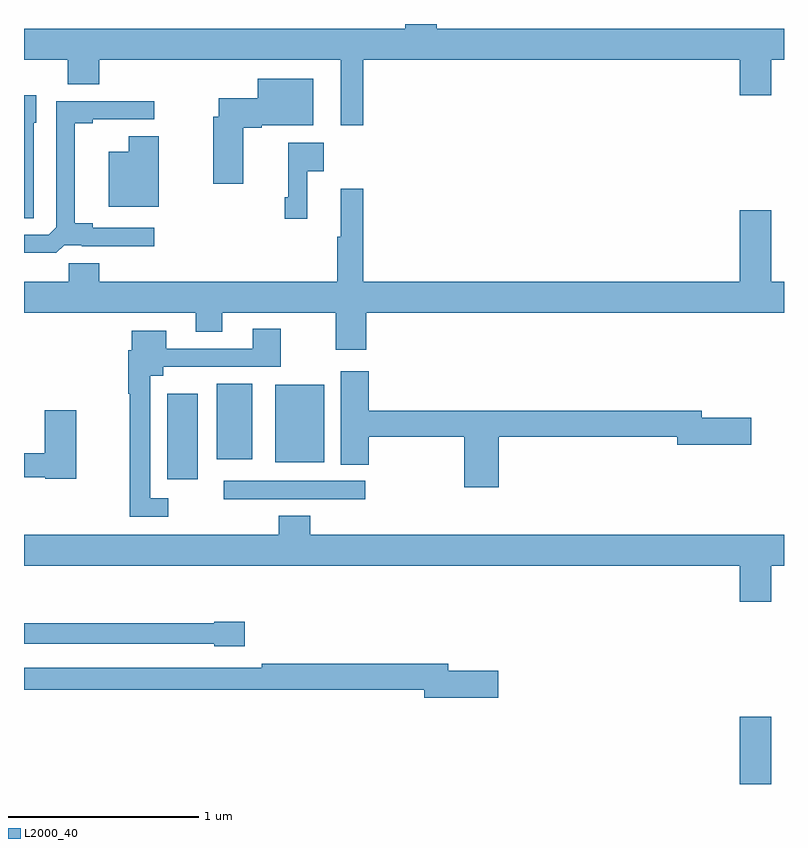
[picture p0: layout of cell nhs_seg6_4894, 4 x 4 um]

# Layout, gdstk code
import gdstk
lib = gdstk.Library(unit=1e-6, precision=1e-09)
def R(c, l, rs):  # rectangles x0, y0, x1, y1
    for r in rs: c.add(gdstk.rectangle(r[:2], r[2:], *l))
def P(c, l, *ps):  # polygons
    for p in ps: c.add(gdstk.Polygon(p, *l))
L2000_40 = (2000, 40)

nhs_seg6_4894 = lib.new_cell('nhs_seg6_4894')
R(nhs_seg6_4894, L2000_40, [(404.768,967.5,404.932,967.855), (402.051,969,402.796,969.096), (401.753,969.105,401.914,969.553), (402.323,969.194,402.58,969.601), (402.014,969.209,402.202,969.607)])
P(nhs_seg6_4894, L2000_40, [(402.785,971.312),(404.768,971.312),(404.768,971.124),(404.932,971.124),(404.932,971.312),(405,971.312),(405,971.476),(403.172,971.476),(403.172,971.5),(403.007,971.5),(403.007,971.476),(401,971.476),(401,971.312),(401.231,971.312),(401.231,971.184),(401.395,971.184),(401.395,971.312),(402.668,971.312),(402.668,970.968),(402.785,970.968)],
  [(402.154,970.955),(402.25,970.955),(402.25,970.967),(402.523,970.967),(402.523,971.212),(402.23,971.212),(402.23,971.11),(402.026,971.11),(402.026,971.011),(401.996,971.011),(401.996,970.659),(402.154,970.659)],
  [(401.052,970.98),(401.065,970.98),(401.065,971.125),(401,971.125),(401,970.477),(401.052,970.477)],
  [(401.211,970.335),(401.305,970.335),(401.305,970.331),(401.686,970.331),(401.686,970.428),(401.362,970.428),(401.362,970.451),(401.267,970.451),(401.267,970.978),(401.362,970.978),(401.362,970.998),(401.686,970.998),(401.686,971.094),(401.169,971.094),(401.169,970.431),(401.13,970.392),(401,970.392),(401,970.296),(401.171,970.296)],
  [(401.71,970.909),(401.552,970.909),(401.552,970.828),(401.447,970.828),(401.447,970.538),(401.71,970.538)],
  [(402.491,970.724),(402.577,970.724),(402.577,970.876),(402.391,970.876),(402.391,970.588),(402.373,970.588),(402.373,970.476),(402.491,970.476)],
  [(402.8,969.98),(405,969.98),(405,970.144),(404.932,970.144),(404.932,970.519),(404.768,970.519),(404.768,970.144),(402.785,970.144),(402.785,970.633),(402.668,970.633),(402.668,970.38),(402.649,970.38),(402.649,970.144),(401.396,970.144),(401.396,970.242),(401.236,970.242),(401.236,970.144),(401,970.144),(401,969.98),(401.903,969.98),(401.903,969.881),(402.043,969.881),(402.043,969.98),(402.64,969.98),(402.64,969.786),(402.8,969.786)],
  [(401.758,969.003),(401.664,969.003),(401.664,969.65),(401.734,969.65),(401.734,969.696),(402.351,969.696),(402.351,969.895),(402.203,969.895),(402.203,969.792),(401.749,969.792),(401.749,969.886),(401.567,969.886),(401.567,969.782),(401.548,969.782),(401.548,969.554),(401.556,969.554),(401.556,968.907),(401.758,968.907)],
  [(403.499,969.328),(404.438,969.328),(404.438,969.286),(404.827,969.286),(404.827,969.428),(404.566,969.428),(404.566,969.464),(402.815,969.464),(402.815,969.673),(402.668,969.673),(402.668,969.181),(402.815,969.181),(402.815,969.328),(403.316,969.328),(403.316,969.063),(403.499,969.063)],
  [(401.274,969.466),(401.108,969.466),(401.108,969.242),(401,969.242),(401,969.114),(401.112,969.114),(401.112,969.106),(401.274,969.106)],
  [(404.932,968.648),(405,968.648),(405,968.812),(402.506,968.812),(402.506,968.911),(402.341,968.911),(402.341,968.812),(401,968.812),(401,968.648),(404.768,968.648),(404.768,968.46),(404.932,968.46)],
  [(402.163,968.355),(402,968.355),(402,968.347),(401,968.347),(401,968.238),(402,968.238),(402,968.225),(402.163,968.225)],
  [(403.495,968.096),(403.234,968.096),(403.234,968.132),(402.25,968.132),(402.25,968.112),(401,968.112),(401,967.996),(403.106,967.996),(403.106,967.954),(403.495,967.954)])

lib.write_gds('nhs_seg6_4894.gds')
